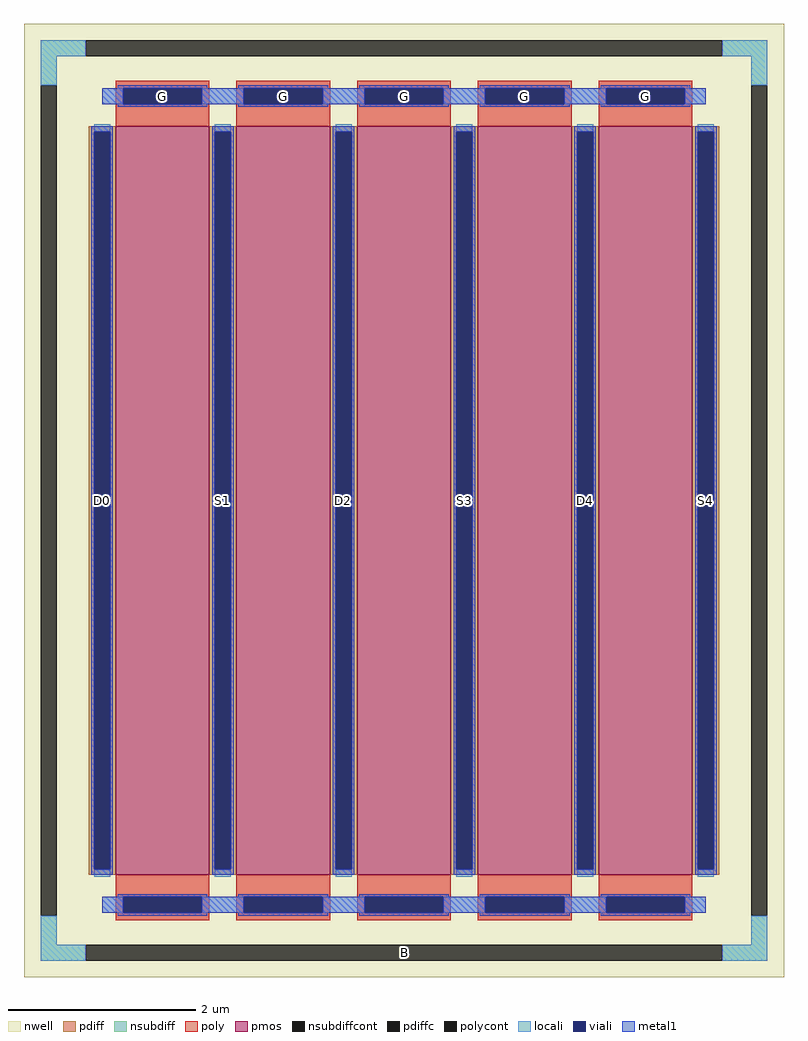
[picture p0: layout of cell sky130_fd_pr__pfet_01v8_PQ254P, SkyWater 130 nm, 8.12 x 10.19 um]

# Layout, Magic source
magic
tech sky130A
magscale 1 2
<< nwell >>
rect -812 -1019 812 1019
<< pmos >>
rect -616 -800 -416 800
rect -358 -800 -158 800
rect -100 -800 100 800
rect 158 -800 358 800
rect 416 -800 616 800
<< pdiff >>
rect -674 788 -616 800
rect -674 -788 -662 788
rect -628 -788 -616 788
rect -674 -800 -616 -788
rect -416 788 -358 800
rect -416 -788 -404 788
rect -370 -788 -358 788
rect -416 -800 -358 -788
rect -158 788 -100 800
rect -158 -788 -146 788
rect -112 -788 -100 788
rect -158 -800 -100 -788
rect 100 788 158 800
rect 100 -788 112 788
rect 146 -788 158 788
rect 100 -800 158 -788
rect 358 788 416 800
rect 358 -788 370 788
rect 404 -788 416 788
rect 358 -800 416 -788
rect 616 788 674 800
rect 616 -788 628 788
rect 662 -788 674 788
rect 616 -800 674 -788
<< pdiffc >>
rect -662 -788 -628 788
rect -404 -788 -370 788
rect -146 -788 -112 788
rect 112 -788 146 788
rect 370 -788 404 788
rect 628 -788 662 788
<< nsubdiff >>
rect -776 949 -680 983
rect 680 949 776 983
rect -776 887 -742 949
rect 742 887 776 949
rect -776 -949 -742 -887
rect 742 -949 776 -887
rect -776 -983 -680 -949
rect 680 -983 776 -949
<< nsubdiffcont >>
rect -680 949 680 983
rect -776 -887 -742 887
rect 742 -887 776 887
rect -680 -983 680 -949
<< poly >>
rect -616 881 -416 897
rect -616 847 -600 881
rect -432 847 -416 881
rect -616 800 -416 847
rect -358 881 -158 897
rect -358 847 -342 881
rect -174 847 -158 881
rect -358 800 -158 847
rect -100 881 100 897
rect -100 847 -84 881
rect 84 847 100 881
rect -100 800 100 847
rect 158 881 358 897
rect 158 847 174 881
rect 342 847 358 881
rect 158 800 358 847
rect 416 881 616 897
rect 416 847 432 881
rect 600 847 616 881
rect 416 800 616 847
rect -616 -847 -416 -800
rect -616 -881 -600 -847
rect -432 -881 -416 -847
rect -616 -897 -416 -881
rect -358 -847 -158 -800
rect -358 -881 -342 -847
rect -174 -881 -158 -847
rect -358 -897 -158 -881
rect -100 -847 100 -800
rect -100 -881 -84 -847
rect 84 -881 100 -847
rect -100 -897 100 -881
rect 158 -847 358 -800
rect 158 -881 174 -847
rect 342 -881 358 -847
rect 158 -897 358 -881
rect 416 -847 616 -800
rect 416 -881 432 -847
rect 600 -881 616 -847
rect 416 -897 616 -881
<< polycont >>
rect -600 847 -432 881
rect -342 847 -174 881
rect -84 847 84 881
rect 174 847 342 881
rect 432 847 600 881
rect -600 -881 -432 -847
rect -342 -881 -174 -847
rect -84 -881 84 -847
rect 174 -881 342 -847
rect 432 -881 600 -847
<< locali >>
rect -776 949 -680 983
rect 680 949 776 983
rect -776 887 -742 949
rect 742 887 776 949
rect -645 847 -600 881
rect -432 847 -342 881
rect -174 847 -84 881
rect 84 847 174 881
rect 342 847 432 881
rect 600 847 645 881
rect -662 788 -628 804
rect -662 -804 -628 -788
rect -404 788 -370 804
rect -404 -804 -370 -788
rect -146 788 -112 804
rect -146 -804 -112 -788
rect 112 788 146 804
rect 112 -804 146 -788
rect 370 788 404 804
rect 370 -804 404 -788
rect 628 788 662 804
rect 628 -804 662 -788
rect -645 -881 -600 -847
rect -432 -881 -342 -847
rect -174 -881 -84 -847
rect 84 -881 174 -847
rect 342 -881 432 -847
rect 600 -881 645 -847
rect -776 -949 -742 -887
rect 742 -949 776 -887
rect -776 -983 -680 -949
rect 680 -983 776 -949
<< viali >>
rect -600 847 -432 881
rect -342 847 -174 881
rect -84 847 84 881
rect 174 847 342 881
rect 432 847 600 881
rect -662 -788 -628 788
rect -404 -788 -370 788
rect -146 -788 -112 788
rect 112 -788 146 788
rect 370 -788 404 788
rect 628 -788 662 788
rect -600 -881 -432 -847
rect -342 -881 -174 -847
rect -84 -881 84 -847
rect 174 -881 342 -847
rect 432 -881 600 -847
<< metal1 >>
rect -612 881 -420 887
rect -354 881 -162 887
rect -96 881 96 887
rect 162 881 354 887
rect 420 881 612 887
rect -645 847 -600 881
rect -432 847 -342 881
rect -174 847 -84 881
rect 84 847 174 881
rect 342 847 432 881
rect 600 847 645 881
rect -612 841 -420 847
rect -354 841 -162 847
rect -96 841 96 847
rect 162 841 354 847
rect 420 841 612 847
rect -668 788 -622 800
rect -668 -788 -662 788
rect -628 -788 -622 788
rect -668 -800 -622 -788
rect -410 788 -364 800
rect -410 -788 -404 788
rect -370 -788 -364 788
rect -410 -800 -364 -788
rect -152 788 -106 800
rect -152 -788 -146 788
rect -112 -788 -106 788
rect -152 -800 -106 -788
rect 106 788 152 800
rect 106 -788 112 788
rect 146 -788 152 788
rect 106 -800 152 -788
rect 364 788 410 800
rect 364 -788 370 788
rect 404 -788 410 788
rect 364 -800 410 -788
rect 622 788 668 800
rect 622 -788 628 788
rect 662 -788 668 788
rect 622 -800 668 -788
rect -612 -847 -420 -841
rect -354 -847 -162 -841
rect -96 -847 96 -841
rect 162 -847 354 -841
rect 420 -847 612 -841
rect -645 -881 -600 -847
rect -432 -881 -342 -847
rect -174 -881 -84 -847
rect 84 -881 174 -847
rect 342 -881 432 -847
rect 600 -881 645 -847
rect -612 -887 -420 -881
rect -354 -887 -162 -881
rect -96 -887 96 -881
rect 162 -887 354 -881
rect 420 -887 612 -881
<< labels >>
rlabel nsubdiffcont 0 -966 0 -966 0 B
port 1 nsew
rlabel pdiffc -645 0 -645 0 0 D0
port 2 nsew
rlabel polycont -516 864 -516 864 0 G
port 3 nsew
rlabel pdiffc -387 0 -387 0 0 S1
port 4 nsew
rlabel polycont -258 864 -258 864 0 G
port 3 nsew
rlabel pdiffc -129 0 -129 0 0 D2
port 5 nsew
rlabel polycont 0 864 0 864 0 G
port 3 nsew
rlabel pdiffc 129 0 129 0 0 S3
port 6 nsew
rlabel polycont 258 864 258 864 0 G
port 3 nsew
rlabel pdiffc 387 0 387 0 0 D4
port 7 nsew
rlabel pdiffc 645 0 645 0 0 S4
port 8 nsew
rlabel polycont 516 864 516 864 0 G
port 3 nsew
<< properties >>
string FIXED_BBOX -759 -966 759 966
string gencell sky130_fd_pr__pfet_01v8
string library sky130
string parameters w 8 l 1.0 m 1 nf 5 diffcov 100 polycov 100 guard 1 glc 1 grc 1 gtc 1 gbc 1 tbcov 100 rlcov 100 topc 1 botc 1 poverlap 0 doverlap 1 lmin 0.15 wmin 0.42 class mosfet compatible {sky130_fd_pr__pfet_01v8  sky130_fd_pr__pfet_01v8_lvt sky130_fd_pr__pfet_01v8_hvt  sky130_fd_pr__pfet_g5v0d10v5} full_metal 1 conn_gates 1 viasrc 100 viadrn 100 viagate 100 viagb 0 viagr 0 viagl 0 viagt 0 doports 1
<< end >>
